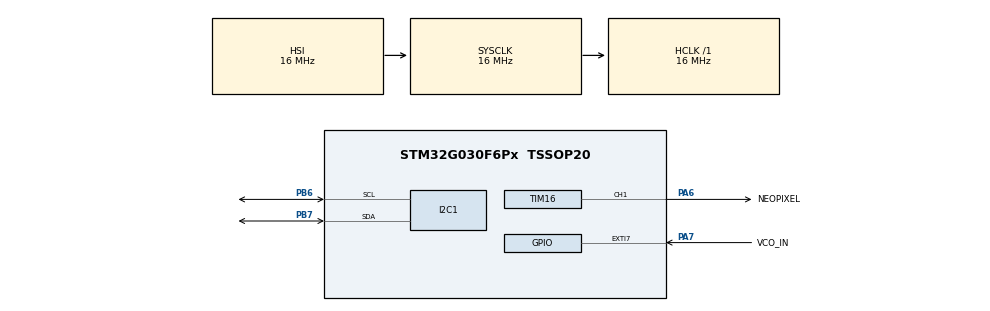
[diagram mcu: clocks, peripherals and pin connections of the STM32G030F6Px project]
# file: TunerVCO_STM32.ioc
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Dma.Request0=TIM16_CH1
Dma.TIM16_CH1.0.Direction=DMA_MEMORY_TO_PERIPH
Dma.TIM16_CH1.0.EventEnable=DISABLE
Dma.TIM16_CH1.0.Instance=DMA1_Channel1
Dma.TIM16_CH1.0.MemDataAlignment=DMA_MDATAALIGN_HALFWORD
Dma.TIM16_CH1.0.MemInc=DMA_MINC_ENABLE
Dma.TIM16_CH1.0.Mode=DMA_NORMAL
Dma.TIM16_CH1.0.PeriphDataAlignment=DMA_PDATAALIGN_HALFWORD
Dma.TIM16_CH1.0.PeriphInc=DMA_PINC_DISABLE
Dma.TIM16_CH1.0.Polarity=HAL_DMAMUX_REQ_GEN_RISING
Dma.TIM16_CH1.0.Priority=DMA_PRIORITY_LOW
Dma.TIM16_CH1.0.RequestNumber=1
Dma.TIM16_CH1.0.SignalID=NONE
Dma.TIM16_CH1.0.SyncEnable=DISABLE
Dma.TIM16_CH1.0.SyncPolarity=HAL_DMAMUX_SYNC_NO_EVENT
Dma.TIM16_CH1.0.SyncRequestNumber=1
Dma.TIM16_CH1.0.SyncSignalID=NONE
Mcu.Family=STM32G0
Mcu.Name=STM32G030F6Px
Mcu.Package=TSSOP20
NVIC.DMA1_Channel1_IRQn=true\:0\:0\:false\:false\:true\:false\:true\:true
PA13.Mode=Serial_Wire
PA13.Signal=SYS_SWDIO
PA14-BOOT0.Mode=Serial_Wire
PA14-BOOT0.Signal=SYS_SWCLK
PA14-BOOT0__PA15.StandardMode=true
PA6.GPIO_Label=NEOPIXEL
PA6.Signal=S_TIM16_CH1
PA7.GPIO_Label=VCO_IN
PA7.GPIO_ModeDefaultEXTI=GPIO_MODE_IT_RISING_FALLING
PA7.Signal=GPXTI7
PB0__PB1__PB2__PA8.StandardMode=true
PB3__PB4__PB5__PB6.StandardMode=true
PB6.Mode=I2C
PB6.Signal=I2C1_SCL
PB7.Mode=I2C
PB7.Signal=I2C1_SDA
PB7__PB8.StandardMode=true
PC14-OSC32_IN\ (PC14)__PB9.StandardMode=true
ProjectManager.HeapSize=0x200
ProjectManager.StackSize=0x400
ProjectManager.TargetToolchain=STM32CubeIDE
RCC.AHBFreq_Value=16000000
RCC.CortexFreq_Value=16000000
RCC.EXTERNAL_CLOCK_VALUE=12288000
RCC.HCLKFreq_Value=16000000
RCC.HSE_VALUE=8000000
RCC.HSI_VALUE=16000000
RCC.LSE_VALUE=32768
RCC.SYSCLKFreq_VALUE=16000000
RCC.VCOOutputFreq_Value=128000000
SH.S_TIM16_CH1.0=TIM16_CH1,PWM Generation1 CH1
TIM16.Channel=TIM_CHANNEL_1
VP_TIM16_VS_ClockSourceINT.Mode=Enable_Timer
board=custom

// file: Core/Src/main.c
/* USER CODE BEGIN Header */
/**
  ******************************************************************************
  * @file           : main.c
  * @brief          : Main program body
  ******************************************************************************
  * @attention
  *
  * Copyright (c) 2024 STMicroelectronics.
  * All rights reserved.
  *
  * This software is licensed under terms that can be found in the LICENSE file
  * in the root directory of this software component.
  * If no LICENSE file comes with this software, it is provided AS-IS.
  *
  ******************************************************************************
  */
/* USER CODE END Header */
#include "main.h"

I2C_HandleTypeDef hi2c1;

TIM_HandleTypeDef htim16;
DMA_HandleTypeDef hdma_tim16_ch1;

/* USER CODE BEGIN PV */

// our two tuning buffers

uint32_t risingEdgeBuf[TUNING_BUF_SIZE];
head_t risingBufHead = 0;

uint32_t fallingEdgeBuf[TUNING_BUF_SIZE];
head_t fallingBufHead = 0;

float currentHz = 0.0f;

// neopixel stuff
pixel_data_t pixel;
float currentPulseWidth = 0.5f;
uint32_t wideColor;
uint32_t narrowColor;
// timing stuff
uint32_t lastDisplayUpdate = 0;
uint32_t lastPixelUpdate = 0;

/* USER CODE END PV */

void SystemClock_Config(void);
static void MX_GPIO_Init(void);
static void MX_DMA_Init(void);
static void MX_I2C1_Init(void);
static void MX_TIM16_Init(void);

/* USER CODE BEGIN PFP */
void updatePixel();
void updateOLED();

/* USER CODE END PFP */

int main(void)
{

  /* MCU Configuration--------------------------------------------------------*/

  /* Reset of all peripherals, Initializes the Flash interface and the Systick. */
  HAL_Init();

  /* Configure the system clock */
  SystemClock_Config();

  /* Initialize all configured peripherals */
  MX_GPIO_Init();
  MX_DMA_Init();
  MX_I2C1_Init();
  MX_TIM16_Init();
  /* USER CODE BEGIN 2 */
  // vars for the neopixels
  wideColor = getRGBColor(255, 0, 0);
  narrowColor = getRGBColor(0, 0, 255);

  /* USER CODE END 2 */

  /* Infinite loop */
  /* USER CODE BEGIN WHILE */
  uint32_t now = 0;
  while (1)
  {
    /* USER CODE END WHILE */
	now = HAL_GetTick();
	if(now - lastDisplayUpdate >= DISPLAY_INTERVAL_MS){
		updateOLED();
		lastDisplayUpdate = now;
	}

	if(now - lastPixelUpdate >= PIXEL_INTERVAL_MS){
		updatePixel();
		lastPixelUpdate = now;
	}

  }
}

void SystemClock_Config(void)
{
  RCC_OscInitTypeDef RCC_OscInitStruct = {0};
  RCC_ClkInitTypeDef RCC_ClkInitStruct = {0};

  /** Configure the main internal regulator output voltage
  */
  HAL_PWREx_ControlVoltageScaling(PWR_REGULATOR_VOLTAGE_SCALE1);

  /** Initializes the RCC Oscillators according to the specified parameters
  * in the RCC_OscInitTypeDef structure.
  */
  RCC_OscInitStruct.OscillatorType = RCC_OSCILLATORTYPE_HSI;
  RCC_OscInitStruct.HSIState = RCC_HSI_ON;
  RCC_OscInitStruct.HSIDiv = RCC_HSI_DIV1;
  RCC_OscInitStruct.HSICalibrationValue = RCC_HSICALIBRATION_DEFAULT;
  RCC_OscInitStruct.PLL.PLLState = RCC_PLL_NONE;
  if (HAL_RCC_OscConfig(&RCC_OscInitStruct) != HAL_OK)
  {
    Error_Handler();
  }

  /** Initializes the CPU, AHB and APB buses clocks
  */
  RCC_ClkInitStruct.ClockType = RCC_CLOCKTYPE_HCLK|RCC_CLOCKTYPE_SYSCLK
                              |RCC_CLOCKTYPE_PCLK1;
  RCC_ClkInitStruct.SYSCLKSource = RCC_SYSCLKSOURCE_HSI;
  RCC_ClkInitStruct.AHBCLKDivider = RCC_SYSCLK_DIV1;
  RCC_ClkInitStruct.APB1CLKDivider = RCC_HCLK_DIV1;

  if (HAL_RCC_ClockConfig(&RCC_ClkInitStruct, FLASH_LATENCY_0) != HAL_OK)
  {
    Error_Handler();
  }
}

static void MX_I2C1_Init(void)
{

  hi2c1.Instance = I2C1;
  hi2c1.Init.Timing = 0x00303D5B;
  hi2c1.Init.OwnAddress1 = 0;
  hi2c1.Init.AddressingMode = I2C_ADDRESSINGMODE_7BIT;
  hi2c1.Init.DualAddressMode = I2C_DUALADDRESS_DISABLE;
  hi2c1.Init.OwnAddress2 = 0;
  hi2c1.Init.OwnAddress2Masks = I2C_OA2_NOMASK;
  hi2c1.Init.GeneralCallMode = I2C_GENERALCALL_DISABLE;
  hi2c1.Init.NoStretchMode = I2C_NOSTRETCH_DISABLE;
  if (HAL_I2C_Init(&hi2c1) != HAL_OK)
  {
    Error_Handler();
  }

  /** Configure Analogue filter
  */
  if (HAL_I2CEx_ConfigAnalogFilter(&hi2c1, I2C_ANALOGFILTER_ENABLE) != HAL_OK)
  {
    Error_Handler();
  }

  /** Configure Digital filter
  */
  if (HAL_I2CEx_ConfigDigitalFilter(&hi2c1, 0) != HAL_OK)
  {
    Error_Handler();
  }

}

static void MX_TIM16_Init(void)
{

  TIM_OC_InitTypeDef sConfigOC = {0};
  TIM_BreakDeadTimeConfigTypeDef sBreakDeadTimeConfig = {0};

  htim16.Instance = TIM16;
  htim16.Init.Prescaler = 0;
  htim16.Init.CounterMode = TIM_COUNTERMODE_UP;
  htim16.Init.Period = 65535;
  htim16.Init.ClockDivision = TIM_CLOCKDIVISION_DIV1;
  htim16.Init.RepetitionCounter = 0;
  htim16.Init.AutoReloadPreload = TIM_AUTORELOAD_PRELOAD_DISABLE;
  if (HAL_TIM_Base_Init(&htim16) != HAL_OK)
  {
    Error_Handler();
  }
  if (HAL_TIM_PWM_Init(&htim16) != HAL_OK)
  {
    Error_Handler();
  }
  sConfigOC.OCMode = TIM_OCMODE_PWM1;
  sConfigOC.Pulse = 0;
  sConfigOC.OCPolarity = TIM_OCPOLARITY_HIGH;
  sConfigOC.OCNPolarity = TIM_OCNPOLARITY_HIGH;
  sConfigOC.OCFastMode = TIM_OCFAST_DISABLE;
  sConfigOC.OCIdleState = TIM_OCIDLESTATE_RESET;
  sConfigOC.OCNIdleState = TIM_OCNIDLESTATE_RESET;
  if (HAL_TIM_PWM_ConfigChannel(&htim16, &sConfigOC, TIM_CHANNEL_1) != HAL_OK)
  {
    Error_Handler();
  }
  sBreakDeadTimeConfig.OffStateRunMode = TIM_OSSR_DISABLE;
  sBreakDeadTimeConfig.OffStateIDLEMode = TIM_OSSI_DISABLE;
  sBreakDeadTimeConfig.LockLevel = TIM_LOCKLEVEL_OFF;
  sBreakDeadTimeConfig.DeadTime = 0;
  sBreakDeadTimeConfig.BreakState = TIM_BREAK_DISABLE;
  sBreakDeadTimeConfig.BreakPolarity = TIM_BREAKPOLARITY_HIGH;
  sBreakDeadTimeConfig.BreakFilter = 0;
  sBreakDeadTimeConfig.AutomaticOutput = TIM_AUTOMATICOUTPUT_DISABLE;
  if (HAL_TIMEx_ConfigBreakDeadTime(&htim16, &sBreakDeadTimeConfig) != HAL_OK)
  {
    Error_Handler();
  }
  HAL_TIM_MspPostInit(&htim16);

}

static void MX_DMA_Init(void)
{

  /* DMA controller clock enable */
  __HAL_RCC_DMA1_CLK_ENABLE();

  /* DMA interrupt init */
  /* DMA1_Channel1_IRQn interrupt configuration */
  HAL_NVIC_SetPriority(DMA1_Channel1_IRQn, 0, 0);
  HAL_NVIC_EnableIRQ(DMA1_Channel1_IRQn);

}

static void MX_GPIO_Init(void)
{
  GPIO_InitTypeDef GPIO_InitStruct = {0};

  /* GPIO Ports Clock Enable */
  __HAL_RCC_GPIOB_CLK_ENABLE();
  __HAL_RCC_GPIOA_CLK_ENABLE();

  /*Configure GPIO pin : VCO_IN_Pin */
  GPIO_InitStruct.Pin = VCO_IN_Pin;
  GPIO_InitStruct.Mode = GPIO_MODE_IT_RISING_FALLING;
  GPIO_InitStruct.Pull = GPIO_NOPULL;
  HAL_GPIO_Init(VCO_IN_GPIO_Port, &GPIO_InitStruct);

}

/* USER CODE BEGIN 4 */

// ISRs
void HAL_GPIO_EXTI_Rising_Callback(uint16_t GPIO_Pin)
{
  /* Prevent unused argument(s) compilation warning */
  UNUSED(GPIO_Pin);
  triggerTuningUpdate(risingEdgeBuf, &risingBufHead);

}

void HAL_GPIO_EXTI_Falling_Callback(uint16_t GPIO_Pin)
{
  /* Prevent unused argument(s) compilation warning */
  UNUSED(GPIO_Pin);
  triggerTuningUpdate(fallingEdgeBuf, &fallingBufHead);

}

void HAL_TIM_PWM_PulseFinishedCallback(TIM_HandleTypeDef* htim){
	HAL_TIM_PWM_Stop_DMA(&htim16, TIM_CHANNEL_1);
	htim16.Instance->CCR1 = 0;
}

//------------------------------------------------------------

void updatePixel(){

	// step 1: calculate the current pulse width
	currentPulseWidth = getPulseWidth(risingEdgeBuf, &risingBufHead, fallingEdgeBuf, &fallingBufHead, 150);
	uint32_t rgb = lerpColors(narrowColor, wideColor, currentPulseWidth);
	// step 2. set the data
	setColor(&pixel, 0, rgb);
	//step 3. send to DMA
	HAL_TIM_PWM_Start_DMA(&htim16, TIM_CHANNEL_1, (uint32_t*)&pixel, 24);
}

void updateOLED(){
	//step 1: grip the hz
	currentHz = getCurrentHz(risingEdgeBuf, &risingBufHead);
	//step 2: send to display
	displayTuning(currentHz);

}

/* USER CODE END 4 */

void Error_Handler(void)
{
  __disable_irq();
  while (1)
  {
  }
}
